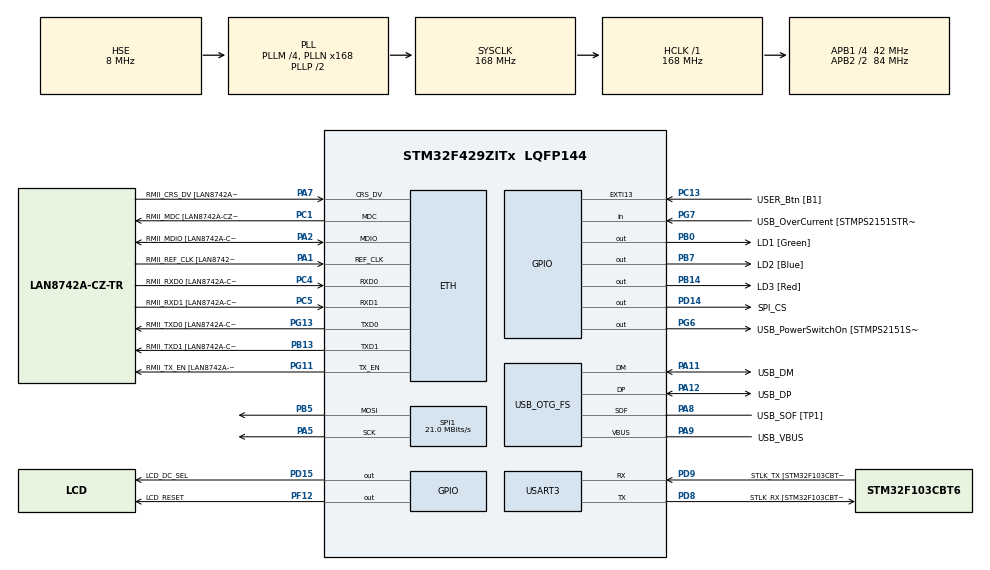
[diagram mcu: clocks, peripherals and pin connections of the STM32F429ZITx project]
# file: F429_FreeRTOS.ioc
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Dma.Request0=SPI1_TX
Dma.SPI1_TX.0.Direction=DMA_MEMORY_TO_PERIPH
Dma.SPI1_TX.0.FIFOMode=DMA_FIFOMODE_DISABLE
Dma.SPI1_TX.0.Instance=DMA2_Stream3
Dma.SPI1_TX.0.MemDataAlignment=DMA_MDATAALIGN_HALFWORD
Dma.SPI1_TX.0.MemInc=DMA_MINC_DISABLE
Dma.SPI1_TX.0.Mode=DMA_NORMAL
Dma.SPI1_TX.0.PeriphDataAlignment=DMA_PDATAALIGN_HALFWORD
Dma.SPI1_TX.0.PeriphInc=DMA_PINC_DISABLE
Dma.SPI1_TX.0.Priority=DMA_PRIORITY_MEDIUM
ETH.MediaInterface=HAL_ETH_RMII_MODE
ETH.PHY_Name=LAN8742A_PHY_ADDRESS
ETH.PHY_Value=0
ETH.PhyAddress=0
Mcu.Family=STM32F4
Mcu.Name=STM32F429ZITx
Mcu.Package=LQFP144
NVIC.DMA2_Stream3_IRQn=true\:0\:0\:false\:false\:true\:false\:true\:true
NVIC.PriorityGroup=NVIC_PRIORITYGROUP_4
NVIC.SPI1_IRQn=true\:0\:0\:false\:false\:true\:true\:true\:true
PA1.GPIO_Label=RMII_REF_CLK [LAN8742A-CZ-TR_REFCLK0]
PA1.Mode=RMII
PA1.Signal=ETH_REF_CLK
PA10.GPIO_Label=USB_ID
PA10.Signal=USB_OTG_FS_ID
PA11.GPIO_Label=USB_DM
PA11.Mode=Device_Only
PA11.Signal=USB_OTG_FS_DM
PA12.GPIO_Label=USB_DP
PA12.Mode=Device_Only
PA12.Signal=USB_OTG_FS_DP
PA13.GPIO_Label=TMS
PA13.Mode=Serial_Wire
PA13.Signal=SYS_JTMS-SWDIO
PA14.GPIO_Label=TCK
PA14.Mode=Serial_Wire
PA14.Signal=SYS_JTCK-SWCLK
PA2.GPIO_Label=RMII_MDIO [LAN8742A-CZ-TR_MDIO]
PA2.Mode=RMII
PA2.Signal=ETH_MDIO
PA5.GPIO_PuPd=GPIO_PULLDOWN
PA5.Mode=TX_Only_Simplex_Unidirect_Master
PA5.Signal=SPI1_SCK
PA7.GPIO_Label=RMII_CRS_DV [LAN8742A-CZ-TR_CRS_DV]
PA7.Mode=RMII
PA7.Signal=ETH_CRS_DV
PA8.GPIO_Label=USB_SOF [TP1]
PA8.Mode=Activate_SOF_FS
PA8.Signal=USB_OTG_FS_SOF
PA9.GPIO_Label=USB_VBUS
PA9.Mode=Activate_VBUS
PA9.Signal=USB_OTG_FS_VBUS
PB0.GPIO_Label=LD1 [Green]
PB0.Signal=GPIO_Output
PB13.GPIO_Label=RMII_TXD1 [LAN8742A-CZ-TR_TXD1]
PB13.Mode=RMII
PB13.Signal=ETH_TXD1
PB14.GPIO_Label=LD3 [Red]
PB14.Signal=GPIO_Output
PB5.GPIO_PuPd=GPIO_PULLUP
PB5.Mode=TX_Only_Simplex_Unidirect_Master
PB5.Signal=SPI1_MOSI
PB7.GPIO_Label=LD2 [Blue]
PB7.Signal=GPIO_Output
PC1.GPIO_Label=RMII_MDC [LAN8742A-CZ-TR_MDC]
PC1.Mode=RMII
PC1.Signal=ETH_MDC
PC13.GPIO_Label=USER_Btn [B1]
PC13.Signal=GPXTI13
PC14/OSC32_IN.Mode=LSE-External-Oscillator
PC14/OSC32_IN.Signal=RCC_OSC32_IN
PC15/OSC32_OUT.Mode=LSE-External-Oscillator
PC15/OSC32_OUT.Signal=RCC_OSC32_OUT
PC4.GPIO_Label=RMII_RXD0 [LAN8742A-CZ-TR_RXD0]
PC4.Mode=RMII
PC4.Signal=ETH_RXD0
PC5.GPIO_Label=RMII_RXD1 [LAN8742A-CZ-TR_RXD1]
PC5.Mode=RMII
PC5.Signal=ETH_RXD1
PD14.GPIO_Label=SPI_CS
PD14.GPIO_PuPd=GPIO_NOPULL
PD14.GPIO_Speed=GPIO_SPEED_FREQ_VERY_HIGH
PD14.Signal=GPIO_Output
PD15.GPIO_Label=LCD_DC_SEL
PD15.GPIO_PuPd=GPIO_NOPULL
PD15.GPIO_Speed=GPIO_SPEED_FREQ_VERY_HIGH
PD15.PinState=GPIO_PIN_SET
PD15.Signal=GPIO_Output
PD8.GPIO_Label=STLK_RX [STM32F103CBT6_PA3]
PD8.Mode=Asynchronous
PD8.Signal=USART3_TX
PD9.GPIO_Label=STLK_TX [STM32F103CBT6_PA2]
PD9.Mode=Asynchronous
PD9.Signal=USART3_RX
PF12.GPIO_Label=LCD_RESET
PF12.GPIO_PuPd=GPIO_PULLUP
PF12.PinState=GPIO_PIN_SET
PF12.Signal=GPIO_Output
PG11.GPIO_Label=RMII_TX_EN [LAN8742A-CZ-TR_TXEN]
PG11.Mode=RMII
PG11.Signal=ETH_TX_EN
PG13.GPIO_Label=RMII_TXD0 [LAN8742A-CZ-TR_TXD0]
PG13.Mode=RMII
PG13.Signal=ETH_TXD0
PG6.GPIO_Label=USB_PowerSwitchOn [STMPS2151STR_EN]
PG6.Signal=GPIO_Output
PG7.GPIO_Label=USB_OverCurrent [STMPS2151STR_FAULT]
PG7.Signal=GPIO_Input
PH0/OSC_IN.GPIO_Label=MCO [STM32F103CBT6_PA8]
PH0/OSC_IN.Mode=HSE-External-Clock-Source
PH0/OSC_IN.Signal=RCC_OSC_IN
PH1/OSC_OUT.Mode=HSE-External-Clock-Source
PH1/OSC_OUT.Signal=RCC_OSC_OUT
ProjectManager.HeapSize=0x400
ProjectManager.StackSize=0x1000
ProjectManager.TargetToolchain=STM32CubeIDE
RCC.48MHZClocksFreq_Value=48000000
RCC.AHBFreq_Value=168000000
RCC.APB1CLKDivider=RCC_HCLK_DIV4
RCC.APB1Freq_Value=42000000
RCC.APB1TimFreq_Value=84000000
RCC.APB2CLKDivider=RCC_HCLK_DIV2
RCC.APB2Freq_Value=84000000
RCC.APB2TimCLKDivider=2
RCC.APB2TimFreq_Value=168000000
RCC.CortexFreq_Value=168000000
RCC.HCLKFreq_Value=168000000
RCC.HSE_VALUE=8000000
RCC.HSI_VALUE=16000000
RCC.PLLM=4
RCC.PLLMUL=RCC_PLL_MUL9
RCC.PLLN=168
RCC.PLLQ=7
RCC.PRESCALERUSB=RCC_USBCLKSOURCE_PLL_DIV1_5
RCC.SYSCLKFreq_VALUE=168000000
RCC.SYSCLKSource=RCC_SYSCLKSOURCE_PLLCLK
RCC.SYSCLKSourceVirtual=RCC_SYSCLKSOURCE_PLLCLK
RCC.USBFreq_Value=48000000
RCC.VCOOutputFreq_Value=336000000
SPI1.BaudRatePrescaler=SPI_BAUDRATEPRESCALER_4
SPI1.CalculateBaudRate=21.0 MBits/s
SPI1.Direction=SPI_DIRECTION_2LINES
SPI1.Mode=SPI_MODE_MASTER
SPI1.VirtualType=VM_MASTER
USART3.VirtualMode=VM_ASYNC
USB_OTG_FS.VirtualMode=Device_Only
board=NUCLEO-F429ZI

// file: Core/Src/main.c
/* USER CODE BEGIN Header */
/**
  ******************************************************************************
  * @file           : main.c
  * @brief          : Main program body
  ******************************************************************************
  * @attention
  *
  * Copyright (c) 2024 STMicroelectronics.
  * All rights reserved.
  *
  * This software is licensed under terms that can be found in the LICENSE file
  * in the root directory of this software component.
  * If no LICENSE file comes with this software, it is provided AS-IS.
  *
  ******************************************************************************
  */
#include <stdio.h>
#include "FreeRTOS.h"
#include "task.h"

/* USER CODE END Header */
#include "main.h"
#include "string.h"

ETH_TxPacketConfig TxConfig;
ETH_DMADescTypeDef  DMARxDscrTab[ETH_RX_DESC_CNT]; /* Ethernet Rx DMA Descriptors */
ETH_DMADescTypeDef  DMATxDscrTab[ETH_TX_DESC_CNT]; /* Ethernet Tx DMA Descriptors */

ETH_HandleTypeDef heth;

SPI_HandleTypeDef hspi1;
DMA_HandleTypeDef hdma_spi1_tx;

UART_HandleTypeDef huart3;

PCD_HandleTypeDef hpcd_USB_OTG_FS;

void SystemClock_Config(void);
static void MX_GPIO_Init(void);
static void MX_DMA_Init(void);
static void MX_ETH_Init(void);
static void MX_SPI1_Init(void);
static void MX_USART3_UART_Init(void);
static void MX_USB_OTG_FS_PCD_Init(void);
/* USER CODE BEGIN PFP */
static void prvBlinky( void * pvParameters );
/* USER CODE END PFP */

/* USER CODE BEGIN 0 */
static void prvBlinky( void * pvParameters ) {

    const TickType_t xDelay = 500 / portTICK_PERIOD_MS;
    while(1) {
      HAL_GPIO_TogglePin(LD1_GPIO_Port, LD1_Pin);
      HAL_GPIO_TogglePin(LD2_GPIO_Port, LD2_Pin);
      vTaskDelay(xDelay);
    }
}
/* USER CODE END 0 */

int main(void)
{

  /* MCU Configuration--------------------------------------------------------*/

  /* Reset of all peripherals, Initializes the Flash interface and the Systick. */
  HAL_Init();

  /* Configure the system clock */
  SystemClock_Config();

  /* Initialize all configured peripherals */
  MX_GPIO_Init();
  MX_DMA_Init();
  MX_ETH_Init();
  MX_SPI1_Init();
  MX_USART3_UART_Init();
  MX_USB_OTG_FS_PCD_Init();
  /* USER CODE BEGIN 2 */
  printf("FreeRTOS v11.0.1 + LVGL v9.0\r\n");
  HAL_GPIO_WritePin(LD1_GPIO_Port, LD1_Pin, GPIO_PIN_SET);
  HAL_GPIO_WritePin(LD2_GPIO_Port, LD2_Pin, GPIO_PIN_RESET);
  HAL_GPIO_WritePin(LD3_GPIO_Port, LD3_Pin, GPIO_PIN_SET);
  xTaskCreate( prvBlinky, "Blinky", configMINIMAL_STACK_SIZE, NULL, tskIDLE_PRIORITY+2, NULL );
  extern void main_blinky(void);
  main_blinky();

  vTaskStartScheduler();
  /* USER CODE END 2 */

  /* Infinite loop */
  while (1)
  {

    /* USER CODE BEGIN 3 */
    // HAL_GPIO_TogglePin(LD1_GPIO_Port, LD1_Pin);
    // HAL_GPIO_TogglePin(LD2_GPIO_Port, LD2_Pin);
    HAL_GPIO_TogglePin(LD3_GPIO_Port, LD3_Pin);
    HAL_Delay(500);
  }
  /* USER CODE END 3 */
}

void SystemClock_Config(void)
{
  RCC_OscInitTypeDef RCC_OscInitStruct = {0};
  RCC_ClkInitTypeDef RCC_ClkInitStruct = {0};

  /** Configure the main internal regulator output voltage
  */
  __HAL_RCC_PWR_CLK_ENABLE();
  __HAL_PWR_VOLTAGESCALING_CONFIG(PWR_REGULATOR_VOLTAGE_SCALE1);

  /** Initializes the RCC Oscillators according to the specified parameters
  * in the RCC_OscInitTypeDef structure.
  */
  RCC_OscInitStruct.OscillatorType = RCC_OSCILLATORTYPE_HSE;
  RCC_OscInitStruct.HSEState = RCC_HSE_BYPASS;
  RCC_OscInitStruct.PLL.PLLState = RCC_PLL_ON;
  RCC_OscInitStruct.PLL.PLLSource = RCC_PLLSOURCE_HSE;
  RCC_OscInitStruct.PLL.PLLM = 4;
  RCC_OscInitStruct.PLL.PLLN = 168;
  RCC_OscInitStruct.PLL.PLLP = RCC_PLLP_DIV2;
  RCC_OscInitStruct.PLL.PLLQ = 7;
  if (HAL_RCC_OscConfig(&RCC_OscInitStruct) != HAL_OK)
  {
    Error_Handler();
  }

  /** Initializes the CPU, AHB and APB buses clocks
  */
  RCC_ClkInitStruct.ClockType = RCC_CLOCKTYPE_HCLK|RCC_CLOCKTYPE_SYSCLK
                              |RCC_CLOCKTYPE_PCLK1|RCC_CLOCKTYPE_PCLK2;
  RCC_ClkInitStruct.SYSCLKSource = RCC_SYSCLKSOURCE_PLLCLK;
  RCC_ClkInitStruct.AHBCLKDivider = RCC_SYSCLK_DIV1;
  RCC_ClkInitStruct.APB1CLKDivider = RCC_HCLK_DIV4;
  RCC_ClkInitStruct.APB2CLKDivider = RCC_HCLK_DIV2;

  if (HAL_RCC_ClockConfig(&RCC_ClkInitStruct, FLASH_LATENCY_5) != HAL_OK)
  {
    Error_Handler();
  }
}

static void MX_ETH_Init(void)
{

   static uint8_t MACAddr[6];

  heth.Instance = ETH;
  MACAddr[0] = 0x00;
  MACAddr[1] = 0x80;
  MACAddr[2] = 0xE1;
  MACAddr[3] = 0x00;
  MACAddr[4] = 0x00;
  MACAddr[5] = 0x00;
  heth.Init.MACAddr = &MACAddr[0];
  heth.Init.MediaInterface = HAL_ETH_RMII_MODE;
  heth.Init.TxDesc = DMATxDscrTab;
  heth.Init.RxDesc = DMARxDscrTab;
  heth.Init.RxBuffLen = 1524;

  if (HAL_ETH_Init(&heth) != HAL_OK)
  {
    Error_Handler();
  }

  memset(&TxConfig, 0 , sizeof(ETH_TxPacketConfig));
  TxConfig.Attributes = ETH_TX_PACKETS_FEATURES_CSUM | ETH_TX_PACKETS_FEATURES_CRCPAD;
  TxConfig.ChecksumCtrl = ETH_CHECKSUM_IPHDR_PAYLOAD_INSERT_PHDR_CALC;
  TxConfig.CRCPadCtrl = ETH_CRC_PAD_INSERT;

}

static void MX_SPI1_Init(void)
{

  /* SPI1 parameter configuration*/
  hspi1.Instance = SPI1;
  hspi1.Init.Mode = SPI_MODE_MASTER;
  hspi1.Init.Direction = SPI_DIRECTION_2LINES;
  hspi1.Init.DataSize = SPI_DATASIZE_8BIT;
  hspi1.Init.CLKPolarity = SPI_POLARITY_LOW;
  hspi1.Init.CLKPhase = SPI_PHASE_1EDGE;
  hspi1.Init.NSS = SPI_NSS_SOFT;
  hspi1.Init.BaudRatePrescaler = SPI_BAUDRATEPRESCALER_16;
  hspi1.Init.FirstBit = SPI_FIRSTBIT_MSB;
  hspi1.Init.TIMode = SPI_TIMODE_DISABLE;
  hspi1.Init.CRCCalculation = SPI_CRCCALCULATION_DISABLE;
  hspi1.Init.CRCPolynomial = 10;
  if (HAL_SPI_Init(&hspi1) != HAL_OK)
  {
    Error_Handler();
  }

}

static void MX_USART3_UART_Init(void)
{

  huart3.Instance = USART3;
  huart3.Init.BaudRate = 115200;
  huart3.Init.WordLength = UART_WORDLENGTH_8B;
  huart3.Init.StopBits = UART_STOPBITS_1;
  huart3.Init.Parity = UART_PARITY_NONE;
  huart3.Init.Mode = UART_MODE_TX_RX;
  huart3.Init.HwFlowCtl = UART_HWCONTROL_NONE;
  huart3.Init.OverSampling = UART_OVERSAMPLING_16;
  if (HAL_UART_Init(&huart3) != HAL_OK)
  {
    Error_Handler();
  }

}

static void MX_USB_OTG_FS_PCD_Init(void)
{

  hpcd_USB_OTG_FS.Instance = USB_OTG_FS;
  hpcd_USB_OTG_FS.Init.dev_endpoints = 4;
  hpcd_USB_OTG_FS.Init.speed = PCD_SPEED_FULL;
  hpcd_USB_OTG_FS.Init.dma_enable = DISABLE;
  hpcd_USB_OTG_FS.Init.phy_itface = PCD_PHY_EMBEDDED;
  hpcd_USB_OTG_FS.Init.Sof_enable = ENABLE;
  hpcd_USB_OTG_FS.Init.low_power_enable = DISABLE;
  hpcd_USB_OTG_FS.Init.lpm_enable = DISABLE;
  hpcd_USB_OTG_FS.Init.vbus_sensing_enable = ENABLE;
  hpcd_USB_OTG_FS.Init.use_dedicated_ep1 = DISABLE;
  if (HAL_PCD_Init(&hpcd_USB_OTG_FS) != HAL_OK)
  {
    Error_Handler();
  }

}

static void MX_DMA_Init(void)
{

  /* DMA controller clock enable */
  __HAL_RCC_DMA2_CLK_ENABLE();

  /* DMA interrupt init */
  /* DMA2_Stream3_IRQn interrupt configuration */
  HAL_NVIC_SetPriority(DMA2_Stream3_IRQn, 0, 0);
  HAL_NVIC_EnableIRQ(DMA2_Stream3_IRQn);

}

static void MX_GPIO_Init(void)
{
  GPIO_InitTypeDef GPIO_InitStruct = {0};

  /* GPIO Ports Clock Enable */
  __HAL_RCC_GPIOC_CLK_ENABLE();
  __HAL_RCC_GPIOH_CLK_ENABLE();
  __HAL_RCC_GPIOA_CLK_ENABLE();
  __HAL_RCC_GPIOB_CLK_ENABLE();
  __HAL_RCC_GPIOF_CLK_ENABLE();
  __HAL_RCC_GPIOD_CLK_ENABLE();
  __HAL_RCC_GPIOG_CLK_ENABLE();

  /*Configure GPIO pin Output Level */
  HAL_GPIO_WritePin(GPIOB, LD1_Pin|LD3_Pin|LD2_Pin, GPIO_PIN_RESET);

  /*Configure GPIO pin Output Level */
  HAL_GPIO_WritePin(LCD_RESET_GPIO_Port, LCD_RESET_Pin, GPIO_PIN_SET);

  /*Configure GPIO pin Output Level */
  HAL_GPIO_WritePin(SPI_CS_GPIO_Port, SPI_CS_Pin, GPIO_PIN_RESET);

  /*Configure GPIO pin Output Level */
  HAL_GPIO_WritePin(LCD_DC_SEL_GPIO_Port, LCD_DC_SEL_Pin, GPIO_PIN_SET);

  /*Configure GPIO pin Output Level */
  HAL_GPIO_WritePin(USB_PowerSwitchOn_GPIO_Port, USB_PowerSwitchOn_Pin, GPIO_PIN_RESET);

  /*Configure GPIO pin : USER_Btn_Pin */
  GPIO_InitStruct.Pin = USER_Btn_Pin;
  GPIO_InitStruct.Mode = GPIO_MODE_IT_RISING;
  GPIO_InitStruct.Pull = GPIO_NOPULL;
  HAL_GPIO_Init(USER_Btn_GPIO_Port, &GPIO_InitStruct);

  /*Configure GPIO pins : LD1_Pin LD3_Pin LD2_Pin */
  GPIO_InitStruct.Pin = LD1_Pin|LD3_Pin|LD2_Pin;
  GPIO_InitStruct.Mode = GPIO_MODE_OUTPUT_PP;
  GPIO_InitStruct.Pull = GPIO_NOPULL;
  GPIO_InitStruct.Speed = GPIO_SPEED_FREQ_LOW;
  HAL_GPIO_Init(GPIOB, &GPIO_InitStruct);

  /*Configure GPIO pin : LCD_RESET_Pin */
  GPIO_InitStruct.Pin = LCD_RESET_Pin;
  GPIO_InitStruct.Mode = GPIO_MODE_OUTPUT_PP;
  GPIO_InitStruct.Pull = GPIO_PULLUP;
  GPIO_InitStruct.Speed = GPIO_SPEED_FREQ_LOW;
  HAL_GPIO_Init(LCD_RESET_GPIO_Port, &GPIO_InitStruct);

  /*Configure GPIO pins : SPI_CS_Pin LCD_DC_SEL_Pin */
  GPIO_InitStruct.Pin = SPI_CS_Pin|LCD_DC_SEL_Pin;
  GPIO_InitStruct.Mode = GPIO_MODE_OUTPUT_PP;
  GPIO_InitStruct.Pull = GPIO_NOPULL;
  GPIO_InitStruct.Speed = GPIO_SPEED_FREQ_VERY_HIGH;
  HAL_GPIO_Init(GPIOD, &GPIO_InitStruct);

  /*Configure GPIO pin : USB_PowerSwitchOn_Pin */
  GPIO_InitStruct.Pin = USB_PowerSwitchOn_Pin;
  GPIO_InitStruct.Mode = GPIO_MODE_OUTPUT_PP;
  GPIO_InitStruct.Pull = GPIO_NOPULL;
  GPIO_InitStruct.Speed = GPIO_SPEED_FREQ_LOW;
  HAL_GPIO_Init(USB_PowerSwitchOn_GPIO_Port, &GPIO_InitStruct);

  /*Configure GPIO pin : USB_OverCurrent_Pin */
  GPIO_InitStruct.Pin = USB_OverCurrent_Pin;
  GPIO_InitStruct.Mode = GPIO_MODE_INPUT;
  GPIO_InitStruct.Pull = GPIO_NOPULL;
  HAL_GPIO_Init(USB_OverCurrent_GPIO_Port, &GPIO_InitStruct);

}

void Error_Handler(void)
{
  __disable_irq();
  while (1)
  {
  }
}
